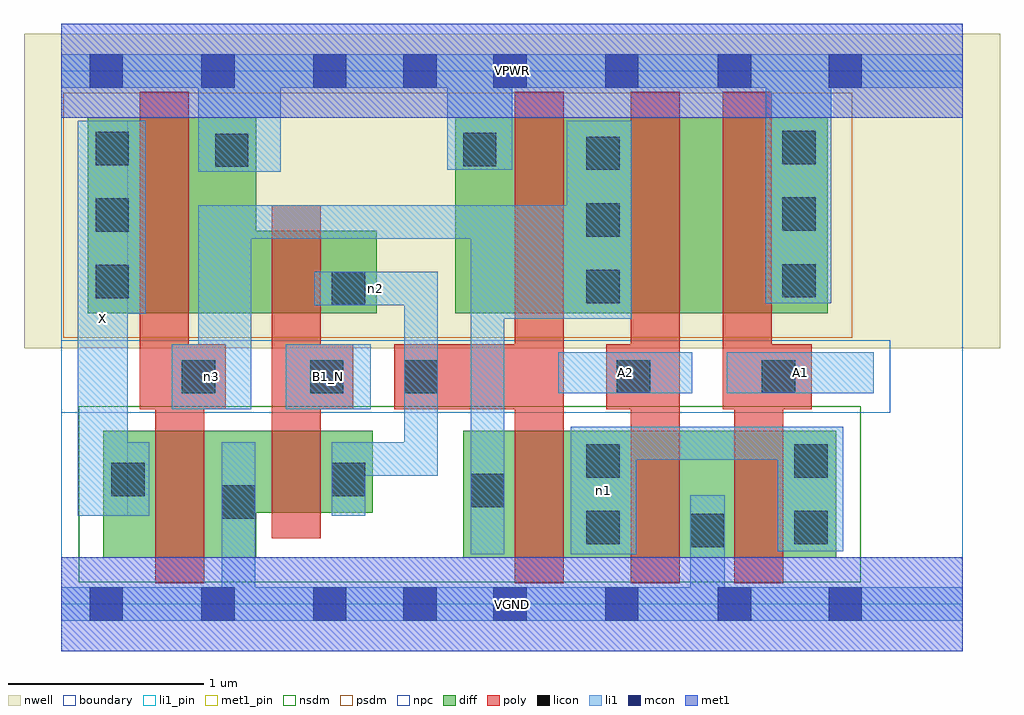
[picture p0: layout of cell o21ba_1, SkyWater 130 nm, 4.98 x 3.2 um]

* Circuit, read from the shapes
.subckt o21ba_1 A1 A2 B1_N VGND VPWR X n1 n2 n3
XM1 VGND n3 X VSUBS sky130_fd_pr__nfet_01v8 w=0.65 l=0.25
XM2 n2 B1_N VGND VSUBS sky130_fd_pr__nfet_01v8 w=0.42 l=0.25
XM3 n1 n2 n3 VSUBS sky130_fd_pr__nfet_01v8 w=0.65 l=0.25
XM4 VGND A2 n1 VSUBS sky130_fd_pr__nfet_01v8 w=0.65 l=0.25
XM5 n1 A1 VGND VSUBS sky130_fd_pr__nfet_01v8 w=0.65 l=0.25
XM6 VPWR n3 X n4 sky130_fd_pr__pfet_01v8 w=1 l=0.25
XM7 n2 B1_N VPWR n4 sky130_fd_pr__pfet_01v8 w=0.42 l=0.25
XM8 n3 n2 VPWR n4 sky130_fd_pr__pfet_01v8 w=1 l=0.25
XM9 n5 A2 n3 n4 sky130_fd_pr__pfet_01v8 w=1 l=0.25
XM10 VPWR A1 n5 n4 sky130_fd_pr__pfet_01v8 w=1 l=0.25
.ends

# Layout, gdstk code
import gdstk
lib = gdstk.Library(unit=1e-6, precision=1e-09)
def R(c, l, rs):  # rectangles x0, y0, x1, y1
    for r in rs: c.add(gdstk.rectangle(r[:2], r[2:], *l))
def A(c, l, x, y, w, h, nx, ny, dx, dy):  # array of equal rectangles
    R(c, l, [(x+i*dx, y+j*dy, x+i*dx+w, y+j*dy+h) for i in range(nx) for j in range(ny)])
nwell = (64, 20)
diff = (65, 20)
poly = (66, 20)
licon = (66, 44)
li1_pin = (67, 16)
li1 = (67, 20)
mcon = (67, 44)
met1_pin = (68, 16)
met1 = (68, 20)
nsdm = (93, 44)
psdm = (94, 20)
npc = (95, 20)
boundary = (235, 4)

o21ba_1 = lib.new_cell('o21ba_1')
R(o21ba_1, nwell, [(-0.19,1.305,4.79,2.91), (0,1.305,4.6,2.91)])
R(o21ba_1, diff, [(0.215,0.235,0.995,0.885), (2.05,0.235,3.955,0.885), (0.215,0.465,1.59,0.885), (0.135,1.485,0.995,2.485), (0.135,1.485,1.61,1.905), (2.01,1.485,3.91,2.485)])
R(o21ba_1, poly, [(0.48,0.105,0.73,1.325), (2.315,0.105,2.565,2.615), (2.905,0.105,3.155,2.615), (3.435,0.105,3.685,1.325), (1.075,0.335,1.325,2.035), (0.4,0.995,0.65,2.615), (0.4,0.995,0.84,1.325), (1.075,0.995,1.49,1.325), (1.7,0.995,2.565,1.325), (2.78,0.995,3.155,1.325), (3.375,0.995,3.625,2.615), (3.375,0.995,3.83,1.325)])
A(o21ba_1, licon, 2.68, 1.535, 0.17, 0.17, 1, 3, 0, 0.34)
A(o21ba_1, licon, 0.175, 1.56, 0.17, 0.17, 1, 3, 0, 0.34)
A(o21ba_1, licon, 3.68, 1.565, 0.17, 0.17, 1, 3, 0, 0.34)
R(o21ba_1, licon, [(3.21,0.29,3.38,0.46), (2.68,0.305,2.85,0.475), (3.74,0.305,3.91,0.475), (0.82,0.435,0.99,0.605), (2.09,0.495,2.26,0.665), (0.255,0.55,0.425,0.72), (1.38,0.55,1.55,0.72), (2.68,0.645,2.85,0.815), (3.74,0.645,3.91,0.815), (0.615,1.075,0.785,1.245), (1.27,1.075,1.44,1.245), (1.75,1.075,1.92,1.245), (2.835,1.075,3.005,1.245), (3.575,1.075,3.745,1.245), (1.38,1.525,1.55,1.695), (0.785,2.23,0.955,2.4), (2.05,2.235,2.22,2.405)])
R(o21ba_1, li1_pin, [(0.085,0.45,0.34,2.465), (1.145,0.995,1.58,1.325), (2.535,1.075,3.22,1.285), (3.395,1.075,4.145,1.285)])
R(o21ba_1, li1, [(0,-0.085,4.6,0.085), (0.82,-0.085,0.99,0.825), (3.21,-0.085,3.385,0.555), (2.09,0.255,2.26,2.035), (2.6,0.255,2.935,0.905), (3.655,0.27,3.99,0.905), (0.085,0.45,0.34,2.465), (0.085,0.45,0.45,0.825), (1.38,0.45,1.55,0.825), (1.38,0.655,1.92,0.825), (1.75,0.655,1.92,1.695), (2.6,0.735,3.99,0.905), (0.565,0.995,0.97,1.325), (0.7,0.995,0.97,2.035), (1.145,0.995,1.58,1.325), (2.535,1.075,3.22,1.285), (3.395,1.075,4.145,1.285), (2.09,1.455,2.91,2.035), (2.58,1.455,2.91,2.465), (0.085,1.48,0.43,2.465), (1.29,1.525,1.92,1.695), (3.595,1.535,3.93,2.805), (0.7,1.865,2.91,2.035), (0.7,2.205,1.12,2.805), (1.97,2.215,2.3,2.805), (0,2.635,4.6,2.805)])
A(o21ba_1, mcon, 0.145, -0.085, 0.17, 0.17, 3, 2, 0.57, 2.72)
R(o21ba_1, mcon, [(1.745,-0.085,1.915,0.085), (2.205,-0.085,2.375,0.085), (2.775,-0.085,2.945,0.085), (3.35,-0.085,3.52,0.085), (3.915,-0.085,4.085,0.085), (1.745,2.635,1.915,2.805), (2.205,2.635,2.375,2.805), (2.775,2.635,2.945,2.805), (3.35,2.635,3.52,2.805), (3.915,2.635,4.085,2.805)])
R(o21ba_1, met1_pin, [(0,-0.24,4.6,0.24), (0,2.48,4.6,2.96)])
R(o21ba_1, met1, [(0,-0.24,4.6,0.24), (0,2.48,4.6,2.96)])
R(o21ba_1, nsdm, [(0.09,0.11,4.08,1.01)])
R(o21ba_1, psdm, [(0.01,1.36,4.035,2.61)])
R(o21ba_1, npc, [(0,0.975,4.23,1.345)])
R(o21ba_1, boundary, [(0,0,4.6,2.72)])
o21ba_1.add(gdstk.Label('A1', (3.77,1.18), layer=67, texttype=5))
o21ba_1.add(gdstk.Label('A2', (2.877,1.18), layer=67, texttype=5))
o21ba_1.add(gdstk.Label('B1_N', (1.362,1.16), layer=67, texttype=5))
o21ba_1.add(gdstk.Label('X', (0.212,1.457), layer=67, texttype=5))
o21ba_1.add(gdstk.Label('n1', (2.767,0.58), layer=67, texttype=5))
o21ba_1.add(gdstk.Label('n2', (1.605,1.61), layer=67, texttype=5))
o21ba_1.add(gdstk.Label('n3', (0.767,1.16), layer=67, texttype=5))
o21ba_1.add(gdstk.Label('VPWR', (2.3,2.72), layer=68, texttype=5))
o21ba_1.add(gdstk.Label('VGND', (2.3,0), layer=68, texttype=5))
o21ba_1.add(gdstk.Label('A1', (3.77,1.18), layer=67, texttype=16))
o21ba_1.add(gdstk.Label('A2', (2.877,1.18), layer=67, texttype=16))
o21ba_1.add(gdstk.Label('B1_N', (1.362,1.16), layer=67, texttype=16))
o21ba_1.add(gdstk.Label('X', (0.212,1.457), layer=67, texttype=16))
o21ba_1.add(gdstk.Label('VPWR', (2.3,2.72), layer=68, texttype=16))
o21ba_1.add(gdstk.Label('VGND', (2.3,0), layer=68, texttype=16))

lib.write_gds('o21ba_1.gds')
